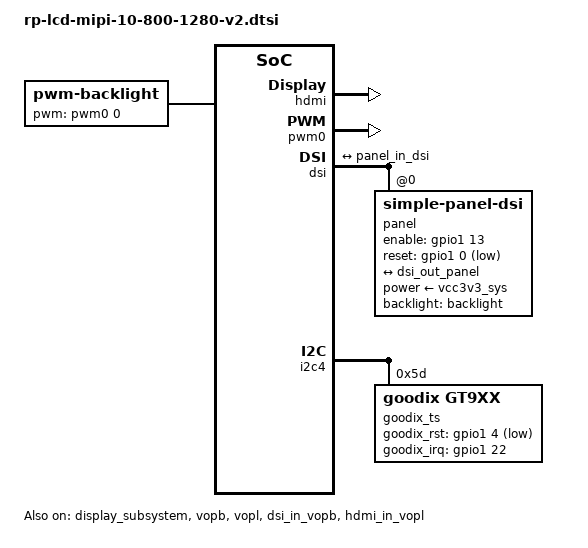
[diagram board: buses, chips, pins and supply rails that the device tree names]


/ {
    
    backlight: backlight {
        status = "okay";
        compatible = "pwm-backlight";
        pwms = <&pwm0 0 25000 0>;
        brightness-levels = <
              0   1   2   3   4   5   6   7
              8   9  10  11  12  13  14  15
             16  17  18  19  20  21  22  23
             24  25  26  27  28  29  30  31
             32  33  34  35  36  37  38  39
             40  41  42  43  44  45  46  47
             48  49  50  51  52  53  54  55
             56  57  58  59  60  61  62  63
             64  65  66  67  68  69  70  71
             72  73  74  75  76  77  78  79
             80  81  82  83  84  85  86  87
             88  89  90  91  92  93  94  95
             96  97  98  99 100 101 102 103
            104 105 106 107 108 109 110 111
            112 113 114 115 116 117 118 119
            120 121 122 123 124 125 126 127
            128 129 130 131 132 133 134 135
            136 137 138 139 140 141 142 143
            144 145 146 147 148 149 150 151
            152 153 154 155 156 157 158 159
            160 161 162 163 164 165 166 167
            168 169 170 171 172 173 174 175
            176 177 178 179 180 181 182 183
            184 185 186 187 188 189 190 191
            192 193 194 195 196 197 198 199
            200 201 202 203 204 205 206 207
            208 209 210 211 212 213 214 215
            216 217 218 219 220 221 222 223
            224 225 226 227 228 229 230 231
            232 233 234 235 236 237 238 239
            240 241 242 243 244 245 246 247
            248 249 250 251 252 253 254 255>;
        default-brightness-level = <255>;
    };


};


&hdmi {
    #address-cells = <1>;
    #size-cells = <0>;
    #sound-dai-cells = <0>;
    ddc-i2c-scl-high-time-ns = <9625>;
    ddc-i2c-scl-low-time-ns = <10000>;
    status = "okay";
};

&pwm0 {
    status = "okay";
};


&display_subsystem {
    status = "okay";

    ports = <&vopb_out>, <&vopl_out>;
    logo-memory-region = <&drm_logo>;

    route {
        route_hdmi: route-hdmi {
            status = "okay";
            logo,uboot = "logo.bmp";
            logo,kernel = "logo_kernel.bmp";
            logo,mode = "center";
            charge_logo,mode = "center";
            connect = <&vopl_out_hdmi>;
        };

        route_dsi: route-dsi {

            status = "okay";
            //status = "disabled";
            logo,uboot = "logo.bmp";
            logo,kernel = "logo_kernel.bmp";
            logo,mode = "center";
            charge_logo,mode = "center";
            connect = <&vopb_out_dsi>;
        };

        route_dsi1: route-dsi1 {
            status = "disabled";
            logo,uboot = "logo.bmp";
            logo,kernel = "logo_kernel.bmp";
            logo,mode = "center";
            charge_logo,mode = "center";
            connect = <&vopl_out_dsi1>;
        };

        route_edp: route-edp {
            status = "disabled";
            logo,uboot = "logo.bmp";
            logo,kernel = "logo_kernel.bmp";
            logo,mode = "center";
            charge_logo,mode = "center";
            connect = <&vopb_out_edp>;
        };
    };
};

&dsi {
        status = "okay";
    rockchip,lane-rate = <480>;
    
        panel {
            compatible ="simple-panel-dsi"; 
            status = "okay"; 
            reg = <0>; 
            power-supply = <&vcc3v3_sys>; 
            backlight = <&backlight>; 
            cmd_later_reset = <0>; 
            enable-gpios = <&gpio1 13 GPIO_ACTIVE_HIGH>; 
            reset-gpios  = <&gpio1 0 GPIO_ACTIVE_LOW>; 
            dsi,flags = <(MIPI_DSI_MODE_VIDEO | MIPI_DSI_MODE_VIDEO_BURST | MIPI_DSI_MODE_LPM|MIPI_DSI_MODE_EOT_PACKET)>; 
            dsi,format = <MIPI_DSI_FMT_RGB888>; 
            //bus-format = <MEDIA_BUS_FMT_RGB666_1X24>;
                    dsi,lanes = <4>;
                    reset-delay-ms = <20>;
            init-delay-ms = <20>;
            enable-delay-ms = <120>;
            prepare-delay-ms = <120>;

            //for king/rp/rd board cannot enable boot logo
            pinctrl-names = "default";
            pinctrl-0 = <&pwr_en>;
                   panel-init-sequence = [
                39 00 04 FF 98 81 03    
                //=========_1===========//  
                39 00 02 01 00
                39 00 02 02 00
                39 00 02 03 53   
                39 00 02 04 13   
                39 00 02 05 00   
                39 00 02 06 04   
                39 00 02 07 00   
                39 00 02 08 00   
                39 00 02 09 22   
                39 00 02 0a 22   
                39 00 02 0b 00   
                39 00 02 0c 01   
                39 00 02 0d 00   
                39 00 02 0e 00   
                39 00 02 0f 23   
                39 00 02 10 23   
                39 00 02 11 00
                39 00 02 12 00
                39 00 02 13 00
                39 00 02 14 00
                39 00 02 15 00
                39 00 02 16 00
                39 00 02 17 00
                39 00 02 18 00
                39 00 02 19 00
                39 00 02 1a 00
                39 00 02 1b 00
                39 00 02 1c 00
                39 00 02 1d 00
                39 00 02 1e 44
                39 00 02 1f 80
                39 00 02 20 02   
                39 00 02 21 03   
                39 00 02 22 00
                39 00 02 23 00
                39 00 02 24 00
                39 00 02 25 00
                39 00 02 26 00
                39 00 02 27 00
                39 00 02 28 33   
                39 00 02 29 03   
                39 00 02 2a 00    
                39 00 02 2b 00    
                39 00 02 2c 00    
                39 00 02 2d 00    
                39 00 02 2e 00    
                39 00 02 2f 00    
                39 00 02 30 00    
                39 00 02 31 00    
                39 00 02 32 00    
                39 00 02 33 00    
                39 00 02 34 04   
                39 00 02 35 00    
                39 00 02 36 00    
                39 00 02 37 00    
                39 00 02 38 3C    
                39 00 02 39 00    
                39 00 02 3a 40    
                39 00 02 3b 40    
                39 00 02 3c 00    
                39 00 02 3d 00    
                39 00 02 3e 00    
                39 00 02 3f 00    
                39 00 02 40 00    
                39 00 02 41 00    
                39 00 02 42 00    
                39 00 02 43 00    
                39 00 02 44 00 



                //=========_2===========//   
                39 00 02 50 01    
                39 00 02 51 23    
                39 00 02 52 45    
                39 00 02 53 67    
                39 00 02 54 89     
                39 00 02 55 ab    
                39 00 02 56 01    
                39 00 02 57 23    
                39 00 02 58 45    
                39 00 02 59 67    
                39 00 02 5a 89    
                39 00 02 5b ab    
                39 00 02 5c cd    
                39 00 02 5d ef

                //=========_3===========//       
                39 00 02 5e 11 

                39 00 02 5f 01     
                39 00 02 60 00     
                39 00 02 61 15     
                39 00 02 62 14     
                39 00 02 63 0C     
                39 00 02 64 0D     
                39 00 02 65 0E     
                39 00 02 66 0F     
                39 00 02 67 06     
                39 00 02 68 02    
                39 00 02 69 02    
                39 00 02 6a 02    
                39 00 02 6b 02    
                39 00 02 6c 02    
                39 00 02 6d 02      
                39 00 02 6e 08      
                39 00 02 6f 02      
                39 00 02 70 02      
                39 00 02 71 02     
                39 00 02 72 02    
                39 00 02 73 02    
                39 00 02 74 02
                    
                39 00 02 75 01      
                39 00 02 76 00      
                39 00 02 77 15      
                39 00 02 78 14      
                39 00 02 79 0C     
                39 00 02 7a 0D     
                39 00 02 7b 0E      
                39 00 02 7c 0F      
                39 00 02 7D 08      
                39 00 02 7E 02      
                39 00 02 7F 02      
                39 00 02 80 02      
                39 00 02 81 02      
                39 00 02 82 02      
                39 00 02 83 02       
                39 00 02 84 06       
                39 00 02 85 02      
                39 00 02 86 02       
                39 00 02 87 02       
                39 00 02 88 02    
                39 00 02 89 02    
                39 00 02 8A 02


                //CMD_Page 
                39 00 04 FF 98 81 04
                39 00 02 6C 15        
                39 00 02 6E 3B        
                39 00 02 6F 73       
                39 00 02 3A 24       
                39 00 02 8D 14        
                39 00 02 87 BA                      
                39 00 02 26 76                
                39 00 02 B2 D1        
                39 00 02 B5 27        
                39 00 02 31 75        
                39 00 02 30 03        
                39 00 02 3B 98       
                39 00 02 35 1f        
                39 00 02 33 14               
                39 00 02 7A 0F
                39 00 02 38 02
                39 00 02 39 00


                //CMD_Page 
                39 00 04 FF 98 81 01
                39 00 02 22 0A        
                39 00 02 31 0A        
                39 00 02 35 07        
                39 00 02 52 00        
                39 00 02 53 5A          
                39 00 02 54 00        
                39 00 02 55 59        
                39 00 02 50 83        
                39 00 02 51 80        
                39 00 02 60 20            
                39 00 02 61 01
                39 00 02 62 07        
                39 00 02 63 00

                //GammaP
                39 00 02 A0 08
                39 00 02 A1 0F
                39 00 02 A2 15
                39 00 02 A3 0E
                39 00 02 A4 0D
                39 00 02 A5 1B
                39 00 02 A6 0F
                39 00 02 A7 14
                39 00 02 A8 33
                39 00 02 A9 17
                39 00 02 AA 23
                39 00 02 AB 3F
                39 00 02 AC 22
                39 00 02 AD 24
                39 00 02 AE 59
                39 00 02 AF 2B
                39 00 02 B0 2E
                39 00 02 B1 4C
                39 00 02 B2 5C
                39 00 02 B3 33

                //GammaN
                39 00 02 C0 08
                39 00 02 C1 0F
                39 00 02 C2 15
                39 00 02 C3 0E
                39 00 02 C4 0D
                39 00 02 C5 1B
                39 00 02 C6 0F
                39 00 02 C7 14
                39 00 02 C8 33
                39 00 02 C9 17
                39 00 02 CA 23
                39 00 02 CB 3F
                39 00 02 CC 22
                39 00 02 CD 24
                39 00 02 CE 59
                39 00 02 CF 2B
                39 00 02 D0 2E
                39 00 02 D1 4C
                39 00 02 D2 5C
                39 00 02 D3 33


                //CMD_Page 
                39 00 04 FF 98 81 00
                05 78 01 11    //sleep out

                05 00 01 29    //display on
                05 00 01 35    //TE on
                ];

                panel-exit-sequence = [
                        05 00 01 28
                        05 78 01 10
                ];

                display-timings {
                        native-mode = <&timing0>;
                        timing0: timing0 {
                                clock-frequency = <76000000>;
                                hactive = <800>;
                                vactive = <1280>;
                                hback-porch = <60>;
                                hfront-porch = <60>;
                                vback-porch = <30>;
                                vfront-porch = <20>;
                                hsync-len = <30>;
                                vsync-len = <2>;
                                hsync-active = <0>;
                                vsync-active = <0>;
                                de-active = <0>;
                                pixelclk-active = <0>;
                        };
                        timing1: timing1 {
                                clock-frequency = <148000000>;
                                hactive = <1920>;
                                vactive = <1080>;
                                hback-porch = <100>;
                                hfront-porch = <160>;
                                vback-porch = <25>;
                                vfront-porch = <10>;
                                hsync-len = <20>;
                                vsync-len = <10>;
                                hsync-active = <0>;
                                vsync-active = <0>;
                                de-active = <0>;
                                pixelclk-active = <1>;
                        };
                };
        
                
                                ports {
                                    #address-cells = <1>;
                                    #size-cells = <0>;
                        
                                    port@0 {
                                        reg = <0>;
                                        panel_in_dsi: endpoint {
                                            remote-endpoint = <&dsi_out_panel>;
                                        };
                                    };
                                };
                                
        };
        
            ports {
                        #address-cells = <1>;
                        #size-cells = <0>;
                
                        port@1 {
                            reg = <1>;
                            dsi_out_panel: endpoint {
                                remote-endpoint = <&panel_in_dsi>;
                            };
                        };
                    };
                    
};

&vopb {
        assigned-clocks = <&cru DCLK_VOP0_DIV>;
        assigned-clock-parents = <&cru PLL_CPLL>;
        //assigned-clock-parents = <&cru PLL_VPLL>;
        status = "okay";
};

&vopb_mmu {
        status = "okay";
};

&vopl {
        assigned-clocks = <&cru DCLK_VOP1_DIV>;
        assigned-clock-parents = <&cru PLL_VPLL>;
        //assigned-clock-parents = <&cru PLL_CPLL>;
        status = "okay";
};

&vopl_mmu {
        status = "okay";
};

&dsi_in_vopl { 
        status = "disabled"; 
}; 

&dsi_in_vopb {
    status = "okay";
}; 

&hdmi_in_vopb { 
        status = "disabled"; 
}; 
 
&hdmi_in_vopl {
    status = "okay";
};

&edp_in_vopb { 
        status = "disabled"; 
}; 

&edp_in_vopl { 
        status = "disabled"; 
}; 

&dsi1_in_vopb { 
        status = "disabled"; 
}; 

&dsi1_in_vopl { 
        status = "disabled"; 
}; 

&route_hdmi {
    status = "okay";
    connect = <&vopl_out_hdmi>;
};

&route_dsi {
    status = "okay";
    connect = <&vopb_out_dsi>;
};

&i2c4 {
        status = "okay";
    
    goodix_ts@5d {
                compatible = "goodix,gt9xx";
                reg = <0x5d>;
                
                gtp_resolution_x = <800>;
                gtp_resolution_y = <1280>;
                gtp_int_tarigger = <1>;
                gtp_change_x2y = <0>;
                gtp_overturn_x = <0>;
                gtp_overturn_y = <0>;
                gtp_send_cfg = <1>;
                gtp_touch_wakeup = <1>;
                
                goodix_rst_gpio = <&gpio1 4 GPIO_ACTIVE_LOW>;
                goodix_irq_gpio = <&gpio1 22 IRQ_TYPE_EDGE_RISING>;
    
#if 0
                /* old touchscreen sensor_id0, reserve for some customer maybe using */
                goodix,cfg-group0 = [
                    00 20 03 00 05 0A 05 00 01 08 
                    28 05 50 32 03 05 00 00 00 00 
                    00 00 00 00 00 00 00 90 30 AA 
                    17 15 31 0D 00 00 01 B9 04 25 
                    00 00 00 00 00 00 00 00 00 00 
                    00 0F 23 94 C5 02 07 00 00 04 
                    9F 10 00 8B 13 00 7C 16 00 6B 
                    1B 00 60 20 00 60 00 00 00 00 
                    00 00 00 00 00 00 00 00 00 00 
                    00 00 00 00 00 00 00 00 00 00 
                    00 00 00 00 00 00 00 00 00 00 
                    00 00 19 18 17 16 15 14 11 10 
                    0F 0E 0D 0C 09 08 07 06 05 04 
                    01 00 00 00 00 00 00 00 00 00 
                    00 00 2A 29 28 27 26 25 24 23 
                    22 21 20 1F 1E 1C 1B 19 00 02 
                    04 06 07 08 0A 0C 0D 0E 0F 10 
                    11 12 13 14 00 00 00 00 00 00 
                    00 00 00 00 96 01
                ];
#endif
                /** ic 9271_1020 sensor_id0, v3 add 20211104 */
                goodix,cfg-group0 = [
                    59 20 03 00 05 0A 05 00 01 08
                    28 05 5A 46 03 05 00 00 00 00
                    00 00 00 17 19 1B 14 8E 2E 99
                    37 39 D3 07 00 00 01 81 02 2D
                    00 00 00 00 00 00 00 00 00 00
                    00 28 78 94 C5 02 07 00 00 04
                    9A 2C 00 80 37 00 6B 45 00 5C
                    56 00 50 6C 00 50 00 00 00 00
                    00 00 00 00 00 00 00 00 00 00
                    00 00 00 00 00 00 00 00 00 00
                    00 00 00 00 00 00 00 00 00 00
                    00 00 17 16 15 14 11 10 0F 0E
                    0D 0C 09 08 07 06 05 04 01 00
                    FF FF 00 00 00 00 00 00 00 00
                    00 00 00 02 04 06 07 08 0A 0C
                    0D 0F 10 11 12 28 27 26 25 24
                    23 22 21 20 1F 1E 1C 1B 19 13
                    FF FF FF FF 00 00 00 00 00 00
                    00 00 00 00 BF 01
                ];

                    
                /* touchscreen sensor_id2 */                    
                goodix,cfg-group2 = [
                     00 20 03 00 05 0A 35 00 00
                     05 28 08 55 41 03 05 00 00
                     00 00 00 00 00 1A 1C 1E 14
                     8E 2E 99 14 16 D3 07 00 00
                     00 9B 02 2D 00 00 00 00 00
                     00 00 00 00 00 00 0F 23 94
                     D5 02 07 00 00 04 9D 10 00
                     86 13 00 75 16 00 61 1B 00
                     53 20 00 53 00 00 00 00 00
                     00 00 00 00 00 00 00 00 00
                     00 00 00 00 00 00 00 00 00
                     00 00 00 00 00 00 00 00 00
                     00 00 00 00 17 16 15 14 11
                     10 0F 0E 0D 0C 09 08 07 06
                     05 04 01 00 FF FF 00 00 00
                     00 00 00 00 00 00 00 00 02
                     04 06 07 08 0A 0C 0D 0F 10
                     11 12 13 28 27 26 25 24 23
                     22 21 20 1F 1E 1C 1B 19 FF
                     FF FF FF 00 00 00 00 00 00
                     00 00 00 00 4D 01
                 ];
    };
};

&pinctrl{
        pwr_5v {
                        pwr_en: pwr-en {
                                rockchip,pins = //<1 13 RK_FUNC_GPIO &pcfg_pull_up>,
                                                <4 30 RK_FUNC_GPIO &pcfg_pull_up>;
                        };
        };
};
